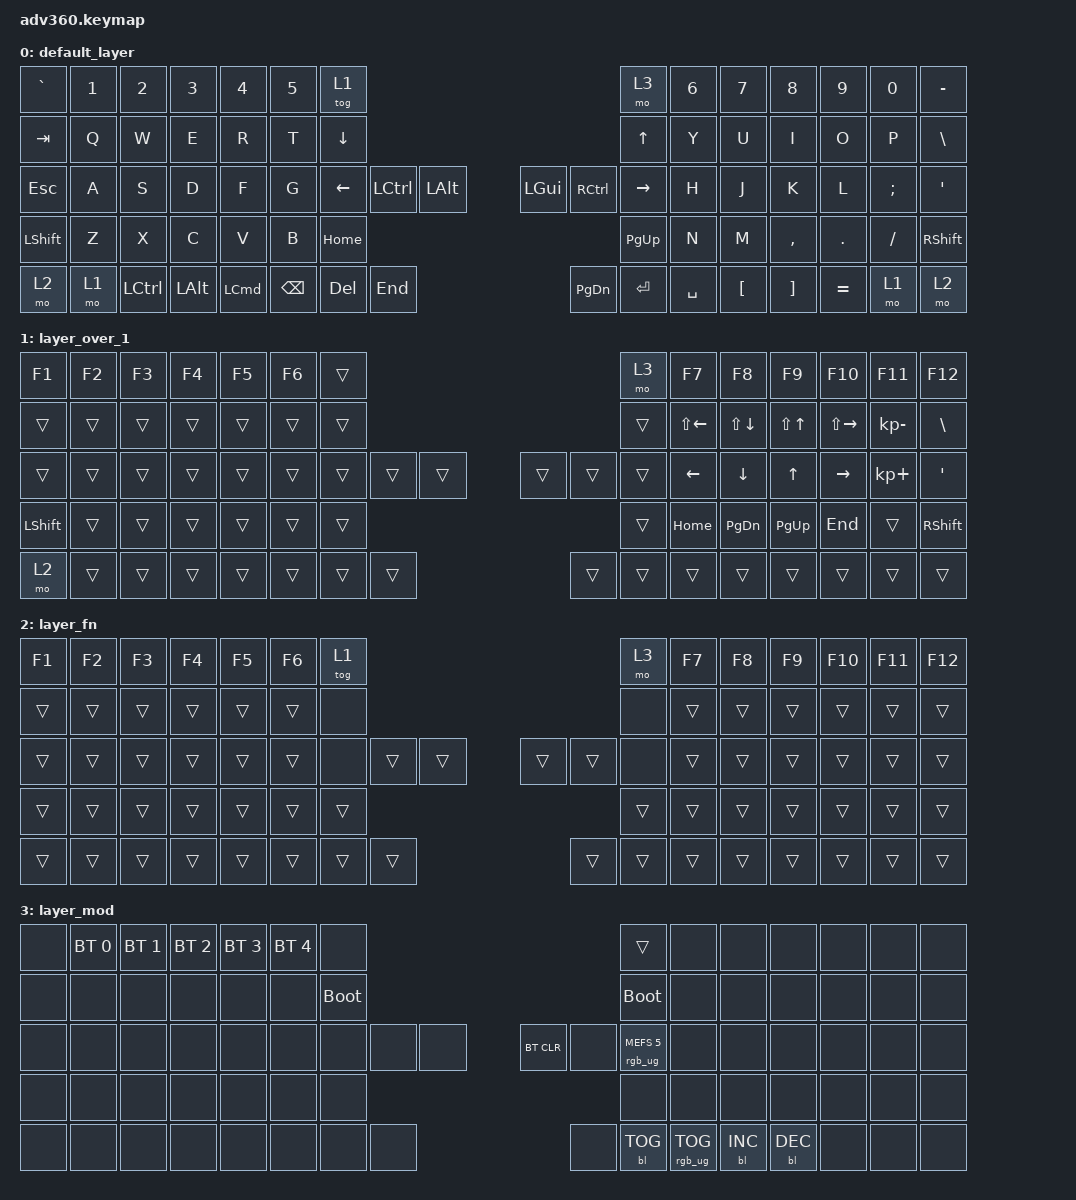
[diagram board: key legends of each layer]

/*
 * Copyright (c) 2020 The ZMK Contributors
 *
 * SPDX-License-Identifier: MIT
 */


/* THIS FILE WAS GENERATED!
 *
 * This file was generated automatically. You may or may not want to
 * edit it directly.
 */

#include <behaviors.dtsi>
#include <dt-bindings/zmk/keys.h>
#include <dt-bindings/zmk/bt.h>
#include <dt-bindings/zmk/rgb.h>
#include <dt-bindings/zmk/backlight.h>

/ {
  behaviors {
    #include "macros.dtsi"

    hm: homerow_mods {
        compatible = "zmk,behavior-hold-tap";
        label = "HOMEROW_MODS";
        #binding-cells = <2>;
        tapping-term-ms = <200>;
        quick_tap_ms = <175>;
        flavor = "tap-preferred";
        bindings = <&kp>, <&kp>;
    };
  };

    keymap {
        compatible = "zmk,keymap";


        default_layer {
            bindings = <
 &kp GRAVE  &kp N1     &kp N2    &kp N3            &kp N4  &kp N5              &tog 1                                                                 &mo 3  &kp N6    &kp N7     &kp N8     &kp N9    &kp N0  &kp MINUS
   &kp TAB   &kp Q      &kp W     &kp E             &kp R   &kp T            &kp DOWN                                                                &kp UP   &kp Y     &kp U      &kp I      &kp O     &kp P   &kp BSLH
   &kp ESC   &kp A      &kp S     &kp D             &kp F   &kp G            &kp LEFT  &kp LCTRL  &kp LALT                   &kp LGUI  &kp RCTRL  &kp RIGHT   &kp H     &kp J      &kp K      &kp L  &kp SEMI    &kp SQT
 &kp LSHFT   &kp Z      &kp X     &kp C             &kp V   &kp B                                 &kp HOME                  &kp PG_UP                         &kp N     &kp M  &kp COMMA    &kp DOT  &kp FSLH  &kp RSHFT
     &mo 2   &mo 1  &kp LCTRL  &kp LALT  &kp LEFT_COMMAND                    &kp BSPC    &kp DEL   &kp END                  &kp PG_DN  &kp ENTER  &kp SPACE          &kp LBKT   &kp RBKT  &kp EQUAL     &mo 1      &mo 2
            >;
        };

        layer_over_1 {
            bindings = <
    &kp F1  &kp F2  &kp F3  &kp F4  &kp F5  &kp F6            &trans                                                   &mo 3        &kp F7        &kp F8      &kp F9        &kp F10       &kp F11    &kp F12
    &trans  &trans  &trans  &trans  &trans  &trans            &trans                                                  &trans  &kp LS(LEFT)  &kp LS(DOWN)  &kp LS(UP)  &kp LS(RIGHT)  &kp KP_MINUS   &kp BSLH
    &trans  &trans  &trans  &trans  &trans  &trans            &trans  &trans  &trans                  &trans  &trans  &trans      &kp LEFT      &kp DOWN      &kp UP      &kp RIGHT   &kp KP_PLUS    &kp SQT
 &kp LSHFT  &trans  &trans  &trans  &trans  &trans                            &trans                  &trans                      &kp HOME     &kp PG_DN   &kp PG_UP        &kp END        &trans  &kp RSHFT
     &mo 2  &trans  &trans  &trans  &trans                    &trans  &trans  &trans                  &trans  &trans  &trans                      &trans      &trans         &trans        &trans     &trans
            >;
        };

        layer_fn {
            bindings = <
 &kp F1  &kp F2  &kp F3  &kp F4  &kp F5  &kp F6            &tog 1                                                   &mo 3  &kp F7  &kp F8  &kp F9  &kp F10  &kp F11  &kp F12
 &trans  &trans  &trans  &trans  &trans  &trans             &none                                                   &none  &trans  &trans  &trans   &trans   &trans   &trans
 &trans  &trans  &trans  &trans  &trans  &trans             &none  &trans  &trans                  &trans  &trans   &none  &trans  &trans  &trans   &trans   &trans   &trans
 &trans  &trans  &trans  &trans  &trans  &trans                            &trans                  &trans                  &trans  &trans  &trans   &trans   &trans   &trans
 &trans  &trans  &trans  &trans  &trans                    &trans  &trans  &trans                  &trans  &trans  &trans          &trans  &trans   &trans   &trans   &trans
            >;
        };

        layer_mod {
            bindings = <
  &none  &bt BT_SEL 0  &bt BT_SEL 1  &bt BT_SEL 2  &bt BT_SEL 3  &bt BT_SEL 4                  &none                                                                          &trans   &none       &none       &none   &none   &none   &none
  &none         &none         &none         &none         &none         &none            &bootloader                                                                     &bootloader   &none       &none       &none   &none   &none   &none
  &none         &none         &none         &none         &none         &none                  &none   &none   &none                  &bt BT_CLR       &none  &rgb_ug RGB_MEFS_CMD 5   &none       &none       &none   &none   &none   &none
  &none         &none         &none         &none         &none         &none                                  &none                       &none                                       &none       &none       &none   &none   &none   &none
  &none         &none         &none         &none         &none                                &none   &none   &none                       &none  &bl BL_TOG         &rgb_ug RGB_TOG          &bl BL_INC  &bl BL_DEC   &none   &none   &none
            >;
        };

    };
};
